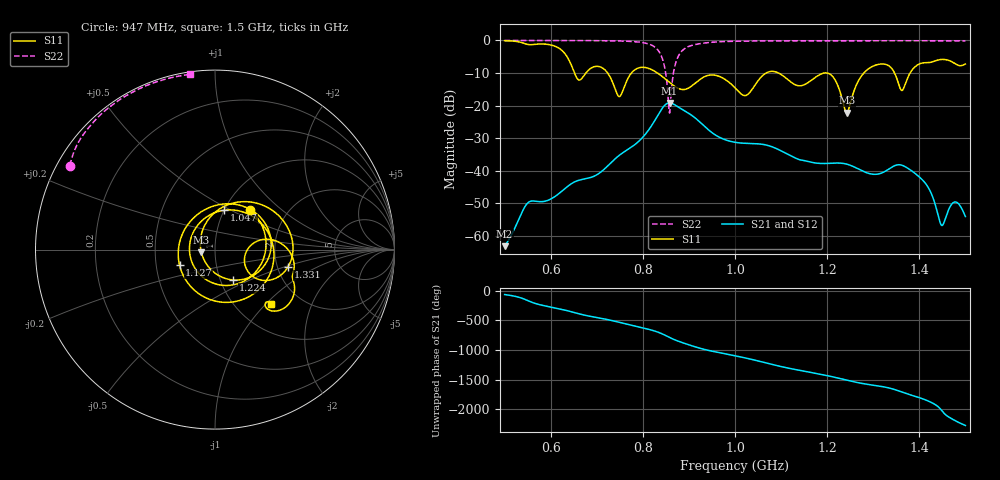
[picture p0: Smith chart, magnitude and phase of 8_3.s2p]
! TOUCHSTONE file generated by CST MICROWAVE STUDIO
! Date and time: Fri Dec 11 13:54:20 2020
! Project name: Scenario_1_Planar_Body_Tissue_Out_of_Line_v2.cst
! Parameters = {dy1=-224.9; L_HA=400; Ltissue=700; MT=2.54; Rad_Dielectric=30; Rad_Lower=7.3; Rad_Upper=30; Wtissue=700; a_HA=580; a_WG=246; b_HA=500; b_WG=121; c_HA=0; c_WG=187; d_feed=85; dx1=520; h_feed=15; h_lower=18; h_upper=40; hfat=3; hgap=25; hmuscle=50; hskin=1.5}
! Header version: 2018
! Port assignment regex: !\s*Touchstone port\s*([0-9]+)\s*=\s*(CST MWS port|CST DS port)\s*([0-9]+|Zmin|Zmax)\s*\(\"(.*)\"\)(\s*mode\s*([0-9]+))?.*
! Touchstone port assignment:
! Touchstone port 1 = CST MWS port 1 ("")
! Touchstone port 2 = CST MWS port 2 ("")
# GHz S DB R 50
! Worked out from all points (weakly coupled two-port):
!   1003 points, 500 MHz to 1.5 GHz, reference 50 ohm
!   highest |S21| = -19.19 dB at 858 MHz (marker M1); lowest = -63.2 dB at 500 MHz (marker M2)
!   lowest |S11| = -22.2 dB at 1.243 GHz (marker M3), VSWR 1.17, Z = 42.9 - j1.25 ohm
!   |S11| at or under -10 dB: 831.6 MHz to 1.068 GHz (236 MHz wide, 24.9 % of centre); 1.094 GHz to 1.194 GHz (99.29 MHz wide, 8.68 % of centre); 1.2 GHz to 1.28 GHz (79.79 MHz wide, 6.44 % of centre) (the widest 3 of 6)
!   |S22| runs from -22.3 to 0.0 dB; largest |S21 - S12| = 3e-05
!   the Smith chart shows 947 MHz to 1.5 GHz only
!   S11 on the Smith chart (normalised r, x): 947 MHz: 1.32, +0.63; 1.047 GHz: 1.00, +0.46; 1.127 GHz: 0.66, -0.12; 1.224 GHz: 1.14, -0.40; 1.331 GHz: 2.28, -0.54; 1.5 GHz: 1.43, -1.07
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0.5  -0.09 -121.9  -63.19 -63.6  -63.19 -63.6  -0.01 151.2
0.598  -1.33 -174.9  -48.86 89.1  -48.86 89.1  -0.02 144.3
0.633  -4.44 146.3  -45.26 30.0  -45.26 30.0  -0.03 141.5
0.667  -11.77 163.9  -42.74 -39.6  -42.74 -39.6  -0.04 138.4
0.742  -15.71 19.9  -36.07 -160.0  -36.07 -160.0  -0.14 128.9
0.788  -8.58 163.4  -31.38 114.1  -31.38 114.1  -0.45 117.7
0.834  -10.23 53.0  -22.66 18.2  -22.66 18.2  -3.19 83.9
0.858  -12.91 -9.7  -19.19 -68.2  -19.19 -68.2  -22.32 -53.4
0.882  -14.99 -87.3  -20.90 -145.5  -20.90 -145.5  -3.69 -175.5
0.947  -10.61 48.0  -27.99 65.7  -27.99 65.7  -0.60 149.9
1  -14.57 -93.4  -31.28 -17.3  -31.28 -17.3  -0.25 140.2
1.047  -12.96 77.0  -31.72 -98.3  -31.72 -98.3  -0.18 134.7
1.077  -9.53 -14.6  -32.50 -156.6  -32.50 -156.6  -0.14 131.8
1.127  -13.32 -156.4  -35.84 116.3  -35.84 116.3  -0.11 127.4
1.167  -12.11 87.8  -37.46 57.8  -37.46 57.8  -0.10 124.2
1.224  -14.16 -59.7  -37.65 -33.8  -37.65 -33.8  -0.09 119.8
1.243  -22.23 -169.2  -38.01 -69.5  -38.01 -69.5  -0.09 118.4
1.331  -7.57 -13.4  -39.77 165.1  -39.77 165.1  -0.08 111.7
1.334  -7.81 -17.4  -39.50 159.7  -39.50 159.7  -0.09 111.5
1.362  -15.38 -12.4  -38.32 90.4  -38.32 90.4  -0.09 109.4
1.448  -5.84 -32.8  -56.74 143.4  -56.74 143.4  -0.11 102.5
1.5  -7.24 -44.3  -54.09 -113.6  -54.09 -113.6  -0.13 98.0
